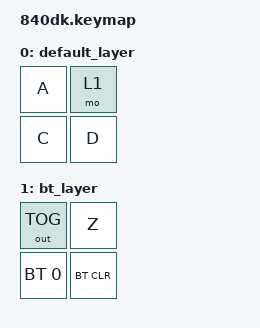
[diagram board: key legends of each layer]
#include <behaviors.dtsi>
#include <dt-bindings/zmk/keys.h>
#include <dt-bindings/zmk/bt.h>
#include <dt-bindings/zmk/outputs.h>

/ {
    keymap {
        compatible = "zmk,keymap";

        default_layer {
            bindings = <
                &kp A    &mo 1
                &kp C    &kp D
            >;
        };

        bt_layer {
            bindings = <
                &out OUT_TOG    &kp Z
                &bt BT_SEL 0    &bt BT_CLR
            >;
        };
    };
};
